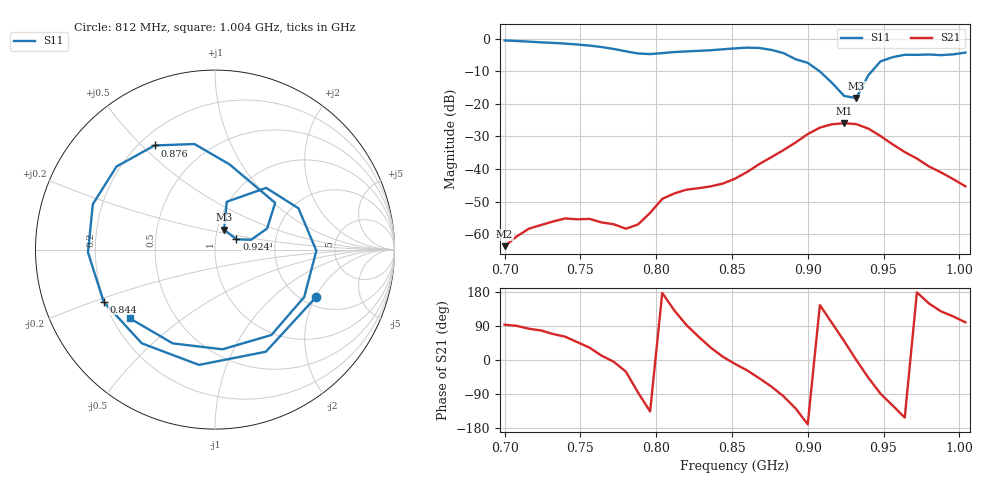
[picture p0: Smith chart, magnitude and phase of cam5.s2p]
# Hz S RI R 50
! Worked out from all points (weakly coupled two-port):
!   39 points, 700 MHz to 1.004 GHz, reference 50 ohm
!   highest |S21| = -25.98 dB at 924 MHz (marker M1); lowest = -63.7 dB at 700 MHz (marker M2)
!   lowest |S11| = -18.2 dB at 932 MHz (marker M3), VSWR 1.28, Z = 53.9 + j12.2 ohm
!   |S11| at or under -10 dB: 907.8 MHz to 942.3 MHz (34.57 MHz wide, 3.74 % of centre)
!   S12 and S22 are empty: the file has one direction only
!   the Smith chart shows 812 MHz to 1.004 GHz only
!   S11 on the Smith chart (normalised r, x): 812 MHz: 2.34, -2.03; 844 MHz: 0.20, -0.21; 876 MHz: 0.26, +0.55; 924 MHz: 1.26, +0.15; 1.004 GHz: 0.27, -0.33
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7e8  0.7577 0.5498  -3.62e-05 0.000652  0 0  0 0
7.24e8  0.8406 -0.2426  0.000287 0.00135  0 0  0 0
7.4e8  0.4551 -0.7032  0.000832 0.00153  0 0  0 0
7.56e8  -0.1913 -0.757  0.00144 0.000924  0 0  0 0
7.72e8  -0.6633 -0.2014  0.00141 -0.000113  0 0  0 0
7.8e8  -0.598 0.221  0.00104 -0.000617  0 0  0 0
7.88e8  -0.2579 0.5317  0.000107 -0.0014  0 0  0 0
7.96e8  0.2288 0.5308  -0.00152 -0.00148  0 0  0 0
8.04e8  0.5673 0.1901  -0.00347 0.00018  0 0  0 0
8.12e8  0.5623 -0.2653  -0.00274 0.00319  0 0  0 0
8.28e8  -0.0893 -0.6423  0.00242 0.00445  0 0  0 0
8.44e8  -0.6207 -0.2899  0.0059 0.000888  0 0  0 0
8.52e8  -0.7078 -0.0149  0.00698 -0.00127  0 0  0 0
8.76e8  -0.3368 0.5801  0.00516 -0.0143  0 0  0 0
9e8  0.3352 0.2603  -0.0338 -0.0061  0 0  0 0
9.08e8  0.2905 0.1175  -0.0352 0.0248  0 0  0 0
9.24e8  0.1189 0.0572  0.0324 0.0384  0 0  0 0
9.32e8  0.0509 0.1113  0.0487 5.11e-05  0 0  0 0
9.48e8  0.2852 0.344  0.000637 -0.032  0 0  0 0
9.56e8  0.4649 0.2301  -0.012 -0.0206  0 0  0 0
9.8e8  0.3141 -0.4759  -0.00936 0.00562  0 0  0 0
1.004e9  -0.4739 -0.3834  -0.000884 0.00535  0 0  0 0
